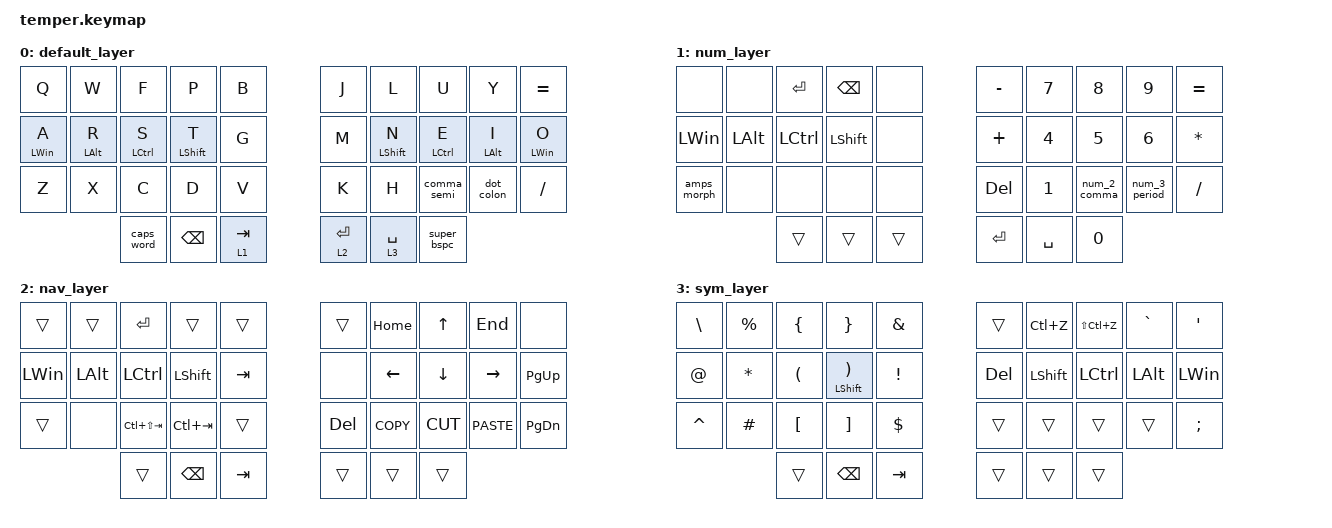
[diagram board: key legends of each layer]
/*
 * Copyright (c) 2020 The ZMK Contributors
 *
 * SPDX-License-Identifier: MIT
 */

#include <behaviors.dtsi>
#include <dt-bindings/zmk/keys.h>

#define DEFAULT 0
#define QWERTY 1
#define NUM 2
#define NAV 3
#define FUN 4

/ {
    conditional_layers {
        compatible = "zmk,conditional-layers";

        tri_layer {
            if-layers = <1 2>;
            then-layer = <4>;
        };
    };

    behaviors {
        bspc_del: backspace_delete {
            compatible = "zmk,behavior-mod-morph";
            #binding-cells = <0>;
            bindings = <&kp BACKSPACE>, <&kp DELETE>;

            mods = <(MOD_LSFT|MOD_RSFT)>;
            keep-mods = <(MOD_RSFT)>;
        };

        super_bspc: super_backspace {
            compatible = "zmk,behavior-mod-morph";
            #binding-cells = <0>;
            bindings = <&kp BACKSPACE>, <&kp LA(BACKSPACE)>;

            mods = <(MOD_LSFT|MOD_RSFT)>;
        };

        smart_shft: smart_shift {
            compatible = "zmk,behavior-mod-morph";
            #binding-cells = <0>;
            bindings = <&kp LSHFT>, <&caps_word>;

            mods = <(MOD_LSFT)>;
        };

        comma_semi: comma_semi {
            compatible = "zmk,behavior-mod-morph";
            #binding-cells = <0>;
            bindings = <&kp COMMA>, <&kp SEMI>;

            mods = <(MOD_LSFT)>;
        };

        dot_colon: dot_colon {
            compatible = "zmk,behavior-mod-morph";
            #binding-cells = <0>;
            bindings = <&kp DOT>, <&kp COLON>;

            mods = <(MOD_LSFT)>;
        };

        qmrk_excl: qmrk_excl {
            compatible = "zmk,behavior-mod-morph";
            #binding-cells = <0>;
            bindings = <&kp QMARK>, <&kp EXCL>;

            mods = <(MOD_LSFT)>;
        };

        slh_morph: slh_morph {
            compatible = "zmk,behavior-mod-morph";
            #binding-cells = <0>;
            bindings = <&kp FSLH>, <&kp BSLH>;

            mods = <(MOD_LSFT)>;
        };

        amps_morph: amps_morph {
            compatible = "zmk,behavior-mod-morph";
            #binding-cells = <0>;
            bindings = <&kp AMPS>, <&kp PIPE>;

            mods = <(MOD_LSFT)>;
        };

        hrm: hrm {
            compatible = "zmk,behavior-hold-tap";
            label = "HRM";
            bindings = <&kp>, <&kp>;

            #binding-cells = <2>;
            tapping-term-ms = <200>;
            hold-trigger-key-positions = <13 12 11 10 16 17 18 19>;
            flavor = "tap-preferred";
            quick-tap-ms = <200>;
            require-prior-idle-ms = <95>;
        };

        layer_tap: layer_tap {
            compatible = "zmk,behavior-hold-tap";
            label = "LAYER_TAP";
            bindings = <&mo>, <&kp>;

            #binding-cells = <2>;
            tapping-term-ms = <200>;
            flavor = "hold-preferred";
        };

        num_3_period: num_3_period {
            compatible = "zmk,behavior-mod-morph";
            label = "NUM_3_PERIOD";
            bindings = <&kp NUMBER_3>, <&kp PERIOD>;

            #binding-cells = <0>;
            mods = <(MOD_LSFT)>;
        };

        num_2_comma: num_2_comma {
            compatible = "zmk,behavior-mod-morph";
            label = "NUM_2_COMMA";
            bindings = <&kp NUMBER_2>, <&kp COMMA>;

            #binding-cells = <0>;
            mods = <(MOD_LSFT)>;
        };
    };

    keymap {
        compatible = "zmk,keymap";

        default_layer {
            bindings = <
&kp Q            &kp W            &kp F             &kp P              &kp B    &kp J  &kp L              &kp U               &kp Y               &kp EQUAL
&hrm LEFT_WIN A  &hrm LEFT_ALT R  &hrm LCTRL S      &hrm LEFT_SHIFT T  &kp G    &kp M  &hrm LEFT_SHIFT N  &hrm LCTRL E        &hrm LEFT_ALT I     &hrm LEFT_WIN O
&kp Z            &kp X            &kp C             &kp D              &kp V    &kp K  &kp H              &comma_semi         &dot_colon          &kp SLASH
&caps_word       &kp BACKSPACE    &layer_tap 1 TAB                                                        &layer_tap 2 ENTER  &layer_tap 3 SPACE  &super_bspc
            >;
        };

        num_layer {
            bindings = <
&none         &none         &kp ENTER  &kp BACKSPACE   &none    &kp MINUS   &kp N7  &kp N8        &kp N9         &kp EQUAL
&kp LEFT_WIN  &kp LEFT_ALT  &kp LCTRL  &kp LEFT_SHIFT  &none    &kp PLUS    &kp N4  &kp N5        &kp N6         &kp ASTERISK
&amps_morph   &none         &none      &none           &none    &kp DELETE  &kp N1  &num_2_comma  &num_3_period  &kp SLASH
&trans        &trans        &trans                                                  &kp ENTER     &kp SPACE      &kp NUMBER_0
            >;
        };

        nav_layer {
            bindings = <
&trans        &trans         &kp ENTER        &trans          &trans     &trans      &kp HOME    &kp UP_ARROW  &kp END      &none
&kp LEFT_WIN  &kp LEFT_ALT   &kp LCTRL        &kp LEFT_SHIFT  &kp TAB    &none       &kp LEFT    &kp DOWN      &kp RIGHT    &kp PAGE_UP
&trans        &none          &kp LC(LS(TAB))  &kp LC(TAB)     &trans     &kp DELETE  &kp K_COPY  &kp K_CUT     &kp K_PASTE  &kp PAGE_DOWN
&trans        &kp BACKSPACE  &kp TAB                                                             &trans        &trans       &trans
            >;
        };

        sym_layer {
            bindings = <
&kp BACKSLASH  &kp PERCENT    &kp LEFT_BRACE        &kp RIGHT_BRACE                    &kp AMPS      &trans   &kp LC(Z)  &kp LS(LC(Z))  &kp GRAVE  &kp SINGLE_QUOTE
&kp AT         &kp ASTRK      &kp LEFT_PARENTHESIS  &hrm LEFT_SHIFT RIGHT_PARENTHESIS  &kp EXCL      &kp DEL  &kp LSHFT  &kp LCTRL      &kp LALT   &kp LEFT_WIN
&kp CARET      &kp HASH       &kp LBKT              &kp RBKT                           &kp DOLLAR    &trans   &trans     &trans         &trans     &kp SEMI
&trans         &kp BACKSPACE  &kp TAB                                                                                    &trans         &trans     &trans
            >;
        };
    };
};
